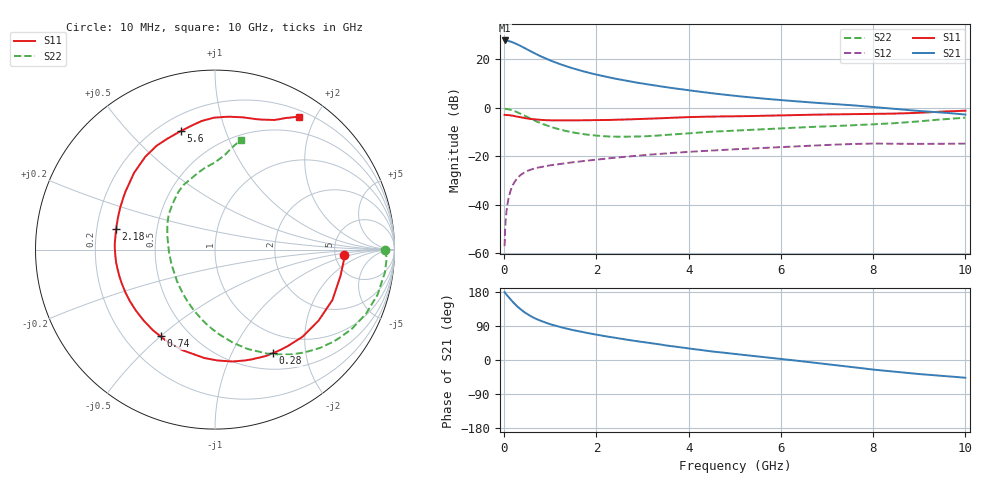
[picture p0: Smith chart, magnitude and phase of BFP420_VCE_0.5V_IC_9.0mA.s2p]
! Infineon Technologies  Discrete & RF Semiconductors
! BFP420
! VCE =  0.5 V,  IC =  9.0 mA
! Common Emitter S-Parameters:  Jan 2016
# GHz  S  MA  R  50
!  f  S11  S21  S12  S22
! GHz  MAG  ANG  MAG  ANG  MAG  ANG  MAG  ANG
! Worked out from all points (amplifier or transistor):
!   233 points, 10 MHz to 10 GHz, reference 50 ohm
!   highest |S21| = 27.9 dB at 10 MHz (marker M1)
!   |S21| within 3 dB of that: start of sweep to 430.1 MHz
!   unconditionally stable (mu >= 1): 2.328 GHz to end of sweep
!   at 200 MHz: K = 0.14, MSG = 29.2 dB, |S12| = -31.4 dB
!   at 1.74 GHz: K = 0.84, MSG = 18.4 dB, |S12| = -21.9 dB
!   at 10 GHz: K = 1.06, MAG = 4.5 dB, |S12| = -14.7 dB
!   S11 on the Smith chart (normalised r, x): 10 MHz: 6.02, -0.78; 280 MHz: 0.71, -1.46; 740 MHz: 0.35, -0.50; 2.18 GHz: 0.28, +0.09; 5.6 GHz: 0.28, +0.71; 10 GHz: 0.28, +1.79
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0.01  0.7192 -2.5  24.71 179.2  0.0014 103.9  0.9492 -0.1
0.02  0.72 -4.8  24.23 177.4  0.003 86.9  0.9578 -3.0
0.1  0.7119 -23.2  23.98 165.4  0.0142 79.1  0.94 -15.5
0.15  0.6997 -34.4  23.27 158.2  0.0209 73.8  0.9142 -23.0
0.2  0.6882 -44.9  22.4 151.7  0.0268 68.9  0.8809 -30.1
0.28  0.661 -60.6  20.67 141.9  0.0348 62.0  0.8178 -40.4
0.32  0.65 -67.9  19.83 137.6  0.0383 59.0  0.7853 -45.2
0.4  0.6309 -81.3  18.13 129.6  0.0442 53.9  0.7219 -54.0
0.5  0.607 -95.6  16.12 121.2  0.0499 48.8  0.6472 -63.5
0.6  0.5891 -107.9  14.36 114.1  0.0543 44.9  0.5828 -71.8
0.74  0.5706 -122.1  12.32 106.2  0.0588 41.1  0.5085 -81.7
0.9  0.5605 -135.3  10.48 98.4  0.0631 38.1  0.443 -92.0
1.1  0.5544 -148.6  8.767 90.8  0.0676 35.7  0.3835 -103.2
1.38  0.5529 -163.0  7.067 82.0  0.0732 33.6  0.3281 -117.5
1.68  0.5558 -175.3  5.823 74.2  0.0792 32.2  0.2913 -131.2
2.18  0.5625 168.4  4.462 63.1  0.0893 29.8  0.2602 -152.0
3.4  0.6143 138.6  2.78 40.6  0.113 22.7  0.272 166.4
5.1  0.6741 112.2  1.738 14.6  0.1415 10.6  0.3432 134.1
5.6  0.6871 106.1  1.565 8.0  0.149 7.1  0.3625 127.6
6.8  0.7283 92.6  1.269 -8.1  0.1686 -2.5  0.4089 112.1
8.4  0.7616 72.7  0.968 -30.3  0.1825 -19.0  0.4801 91.3
10  0.8765 57.6  0.73 -46.9  0.1832 -29.9  0.6281 76.6
